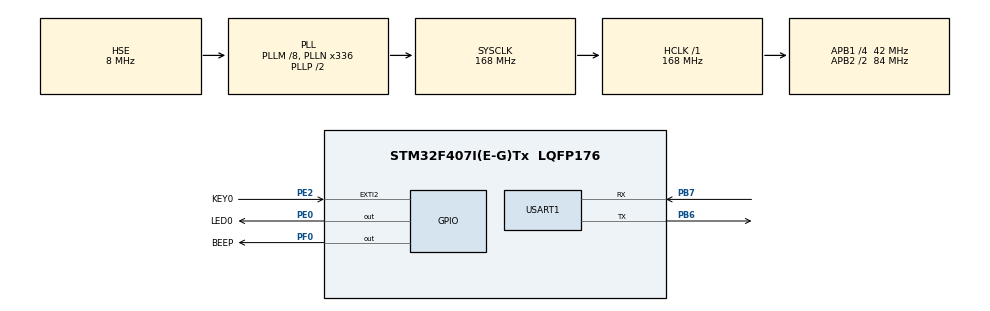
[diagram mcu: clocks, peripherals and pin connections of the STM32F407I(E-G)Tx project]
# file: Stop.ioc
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Mcu.Family=STM32F4
Mcu.Name=STM32F407I(E-G)Tx
Mcu.Package=LQFP176
NVIC.EXTI2_IRQn=true\:1\:1\:true\:false\:true\:true
NVIC.PriorityGroup=NVIC_PRIORITYGROUP_2
PA13.Mode=Serial_Wire
PA13.Signal=SYS_JTMS-SWDIO
PA14.Mode=Serial_Wire
PA14.Signal=SYS_JTCK-SWCLK
PB6.Mode=Asynchronous
PB6.Signal=USART1_TX
PB7.Mode=Asynchronous
PB7.Signal=USART1_RX
PE0.GPIO_Label=LED0
PE0.GPIO_PuPd=GPIO_NOPULL
PE0.GPIO_Speed=GPIO_SPEED_FREQ_HIGH
PE0.PinState=GPIO_PIN_SET
PE0.Signal=GPIO_Output
PE2.GPIO_Label=KEY0
PE2.GPIO_ModeDefaultEXTI=GPIO_MODE_IT_FALLING
PE2.GPIO_PuPd=GPIO_PULLUP
PE2.Signal=GPXTI2
PF0.GPIO_Label=BEEP
PF0.GPIO_PuPd=GPIO_PULLUP
PF0.GPIO_Speed=GPIO_SPEED_FREQ_HIGH
PF0.Signal=GPIO_Output
PH0-OSC_IN.Mode=HSE-External-Oscillator
PH0-OSC_IN.Signal=RCC_OSC_IN
PH1-OSC_OUT.Mode=HSE-External-Oscillator
PH1-OSC_OUT.Signal=RCC_OSC_OUT
ProjectManager.HeapSize=0x200
ProjectManager.StackSize=0x400
ProjectManager.TargetToolchain=MDK-ARM V5
RCC.48MHZClocksFreq_Value=84000000
RCC.AHBFreq_Value=168000000
RCC.APB1CLKDivider=RCC_HCLK_DIV4
RCC.APB1Freq_Value=42000000
RCC.APB1TimFreq_Value=84000000
RCC.APB2CLKDivider=RCC_HCLK_DIV2
RCC.APB2Freq_Value=84000000
RCC.APB2TimFreq_Value=168000000
RCC.CortexFreq_Value=168000000
RCC.HCLKFreq_Value=168000000
RCC.HSE_VALUE=8000000
RCC.HSI_VALUE=16000000
RCC.LSE_VALUE=32768
RCC.PLLM=8
RCC.PLLN=336
RCC.PLLSourceVirtual=RCC_PLLSOURCE_HSE
RCC.SYSCLKFreq_VALUE=168000000
RCC.SYSCLKSource=RCC_SYSCLKSOURCE_PLLCLK
RCC.VCOOutputFreq_Value=336000000
USART1.VirtualMode=VM_ASYNC
board=Stop

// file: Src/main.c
/**
  ******************************************************************************
  * @file           : main.c
  * @brief          : Main program body
  ******************************************************************************
  ** This notice applies to any and all portions of this file
  * that are not between comment pairs USER CODE BEGIN and
  * USER CODE END. Other portions of this file, whether
  * inserted by the user or by software development tools
  * are owned by their respective copyright owners.
  *
  * COPYRIGHT(c) 2024 STMicroelectronics
  *
  * Redistribution and use in source and binary forms, with or without modification,
  * are permitted provided that the following conditions are met:
  *   1. Redistributions of source code must retain the above copyright notice,
  *      this list of conditions and the following disclaimer.
  *   2. Redistributions in binary form must reproduce the above copyright notice,
  *      this list of conditions and the following disclaimer in the documentation
  *      and/or other materials provided with the distribution.
  *   3. Neither the name of STMicroelectronics nor the names of its contributors
  *      may be used to endorse or promote products derived from this software
  *      without specific prior written permission.
  *
  * THIS SOFTWARE IS PROVIDED BY THE COPYRIGHT HOLDERS AND CONTRIBUTORS "AS IS"
  * AND ANY EXPRESS OR IMPLIED WARRANTIES, INCLUDING, BUT NOT LIMITED TO, THE
  * IMPLIED WARRANTIES OF MERCHANTABILITY AND FITNESS FOR A PARTICULAR PURPOSE ARE
  * DISCLAIMED. IN NO EVENT SHALL THE COPYRIGHT HOLDER OR CONTRIBUTORS BE LIABLE
  * FOR ANY DIRECT, INDIRECT, INCIDENTAL, SPECIAL, EXEMPLARY, OR CONSEQUENTIAL
  * DAMAGES (INCLUDING, BUT NOT LIMITED TO, PROCUREMENT OF SUBSTITUTE GOODS OR
  * SERVICES; LOSS OF USE, DATA, OR PROFITS; OR BUSINESS INTERRUPTION) HOWEVER
  * CAUSED AND ON ANY THEORY OF LIABILITY, WHETHER IN CONTRACT, STRICT LIABILITY,
  * OR TORT (INCLUDING NEGLIGENCE OR OTHERWISE) ARISING IN ANY WAY OUT OF THE USE
  * OF THIS SOFTWARE, EVEN IF ADVISED OF THE POSSIBILITY OF SUCH DAMAGE.
  *
  ******************************************************************************
  */
#include "main.h"
#include "stm32f4xx_hal.h"
#include "usart.h"
#include "gpio.h"

/* USER CODE BEGIN PV */
/* Private variables ---------------------------------------------------------*/

/* USER CODE END PV */

void SystemClock_Config(void);

/* USER CODE BEGIN PFP */
/* Private function prototypes -----------------------------------------------*/

/* USER CODE END PFP */

int main(void)
{

  /* MCU Configuration----------------------------------------------------------*/

  /* Reset of all peripherals, Initializes the Flash interface and the Systick. */
  HAL_Init();

  /* Configure the system clock */
  SystemClock_Config();

  /* Initialize all configured peripherals */
  MX_GPIO_Init();
  MX_USART1_UART_Init();
  /* USER CODE BEGIN 2 */
	printf("Test stop mode!\n");

  /* USER CODE END 2 */

  /* Infinite loop */
  /* USER CODE BEGIN WHILE */
  while (1)
  {
		//系统运行，LED0亮
		HAL_GPIO_WritePin(LED0_GPIO_Port, LED0_Pin, GPIO_PIN_RESET);
		HAL_Delay(5000);  //睡眠模式无法烧录，时间给长一些
		printf("System is running!\n");
		printf("Entering stop mode!\n");
		HAL_GPIO_WritePin(LED0_GPIO_Port, LED0_Pin, GPIO_PIN_SET);
		//进入停止模式，LED0亮=灭
		HAL_PWR_EnterSTOPMode(PWR_LOWPOWERREGULATOR_ON, PWR_STOPENTRY_WFE);  //以WFE进入停止模式 阻塞
		printf("out stop mode!\n");

  /* USER CODE END WHILE */

  }

}

void SystemClock_Config(void)
{

  RCC_OscInitTypeDef RCC_OscInitStruct;
  RCC_ClkInitTypeDef RCC_ClkInitStruct;

    /**Configure the main internal regulator output voltage
    */
  __HAL_RCC_PWR_CLK_ENABLE();

  __HAL_PWR_VOLTAGESCALING_CONFIG(PWR_REGULATOR_VOLTAGE_SCALE1);

    /**Initializes the CPU, AHB and APB busses clocks
    */
  RCC_OscInitStruct.OscillatorType = RCC_OSCILLATORTYPE_HSE;
  RCC_OscInitStruct.HSEState = RCC_HSE_ON;
  RCC_OscInitStruct.PLL.PLLState = RCC_PLL_ON;
  RCC_OscInitStruct.PLL.PLLSource = RCC_PLLSOURCE_HSE;
  RCC_OscInitStruct.PLL.PLLM = 8;
  RCC_OscInitStruct.PLL.PLLN = 336;
  RCC_OscInitStruct.PLL.PLLP = RCC_PLLP_DIV2;
  RCC_OscInitStruct.PLL.PLLQ = 4;
  if (HAL_RCC_OscConfig(&RCC_OscInitStruct) != HAL_OK)
  {
    _Error_Handler(__FILE__, __LINE__);
  }

    /**Initializes the CPU, AHB and APB busses clocks
    */
  RCC_ClkInitStruct.ClockType = RCC_CLOCKTYPE_HCLK|RCC_CLOCKTYPE_SYSCLK
                              |RCC_CLOCKTYPE_PCLK1|RCC_CLOCKTYPE_PCLK2;
  RCC_ClkInitStruct.SYSCLKSource = RCC_SYSCLKSOURCE_PLLCLK;
  RCC_ClkInitStruct.AHBCLKDivider = RCC_SYSCLK_DIV1;
  RCC_ClkInitStruct.APB1CLKDivider = RCC_HCLK_DIV4;
  RCC_ClkInitStruct.APB2CLKDivider = RCC_HCLK_DIV2;

  if (HAL_RCC_ClockConfig(&RCC_ClkInitStruct, FLASH_LATENCY_5) != HAL_OK)
  {
    _Error_Handler(__FILE__, __LINE__);
  }

    /**Configure the Systick interrupt time
    */
  HAL_SYSTICK_Config(HAL_RCC_GetHCLKFreq()/1000);

    /**Configure the Systick
    */
  HAL_SYSTICK_CLKSourceConfig(SYSTICK_CLKSOURCE_HCLK);

  /* SysTick_IRQn interrupt configuration */
  HAL_NVIC_SetPriority(SysTick_IRQn, 0, 0);
}

/* USER CODE BEGIN 4 */
void ResumeHseTick(void){
	//打开HSE
  __HAL_RCC_HSE_CONFIG(RCC_HSE_ON);
	//等待HSE正常工作
	// Wait till HSE is bypassed
	while(__HAL_RCC_GET_FLAG(RCC_FLAG_HSERDY) == RESET){

	}
	//使能PLL
	/* Enable the main PLL. */
  __HAL_RCC_PLL_ENABLE();
	/* Wait till PLL is ready */
	while(__HAL_RCC_GET_FLAG(RCC_FLAG_PLLRDY) == RESET){

	}
	//选择系统时钟源为HSE
	__HAL_RCC_SYSCLK_CONFIG(RCC_SYSCLKSOURCE_PLLCLK);
	//等待系统时钟源是RCC_SYSCLKSOURCE_PLLCLK
	while (__HAL_RCC_GET_SYSCLK_SOURCE() != 0x08){

	}

}
//按键中断函数
void HAL_GPIO_EXTI_Callback(uint16_t GPIO_Pin)  //按键中断处理函数
{
    if(GPIO_Pin == KEY0_Pin)
    {
			/*
      //KEY0是否按下
			if(GPIO_PIN_RESET == HAL_GPIO_ReadPin(KEY0_GPIO_Port, KEY0_Pin)){
				HAL_Delay(20);  //去抖动
				if(GPIO_PIN_RESET == HAL_GPIO_ReadPin(KEY0_GPIO_Port, KEY0_Pin)){
			*/
					//退出停止模式
					//唤醒后默认使用的HSI
					//重新使能HSE和PLL
					ResumeHseTick();
					//蜂鸣器响50ms
					HAL_GPIO_WritePin(BEEP_GPIO_Port, BEEP_Pin, GPIO_PIN_SET);
					HAL_Delay(50);
					HAL_GPIO_WritePin(BEEP_GPIO_Port, BEEP_Pin, GPIO_PIN_RESET);
/*
				}
			}
*/
    }
}
/* USER CODE END 4 */

void _Error_Handler(char *file, int line)
{
  while(1)
  {
  }
}

/************************ (C) COPYRIGHT STMicroelectronics *****END OF FILE****/
